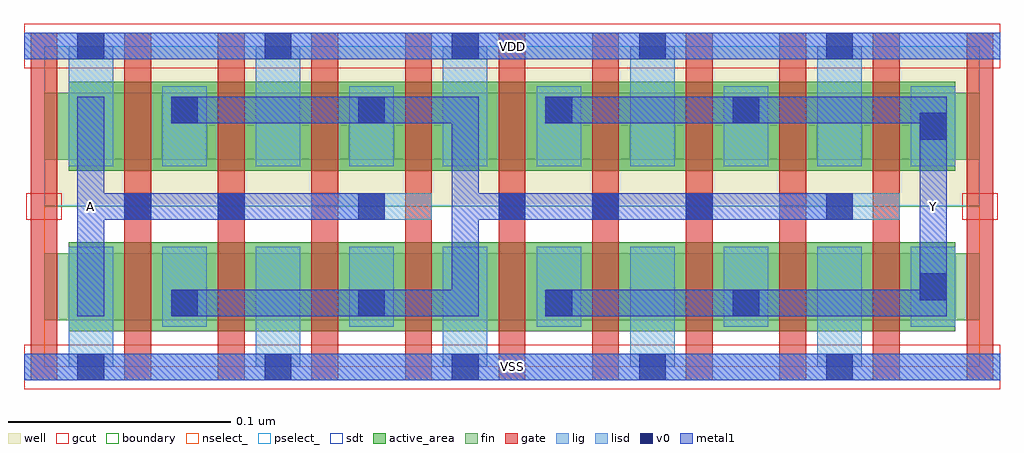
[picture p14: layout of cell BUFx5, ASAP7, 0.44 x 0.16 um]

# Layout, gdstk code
import gdstk
lib = gdstk.Library(unit=1e-6, precision=2.5e-10)
def R(c, l, rs):  # rectangles x0, y0, x1, y1
    for r in rs: c.add(gdstk.rectangle(r[:2], r[2:], *l))
def A(c, l, x, y, w, h, nx, ny, dx, dy):  # array of equal rectangles
    R(c, l, [(x+i*dx, y+j*dy, x+i*dx+w, y+j*dy+h) for i in range(nx) for j in range(ny)])
def P(c, l, *ps):  # polygons
    for p in ps: c.add(gdstk.Polygon(p, *l))
well = (1, 0)
fin = (2, 0)
gate = (7, 0)
gcut = (10, 0)
active_area = (11, 0)
nselect_ = (12, 0)
pselect_ = (13, 0)
lig = (16, 0)
lisd = (17, 0)
v0 = (18, 0)
metal1 = (19, 0)
sdt = (88, 0)
boundary = (100, 0)

bufx5 = lib.new_cell('BUFx5')
R(bufx5, well, [(0,0.072,0.42,0.144)])
R(bufx5, fin, [(0,0.021,0.42,0.051), (0,0.093,0.42,0.123)])
A(bufx5, gate, -0.006, -0.006, 0.012, 0.156, 11, 1, 0.042, 0)
R(bufx5, gcut, [(-0.009,-0.01,0.429,0.01), (-0.008,0.066,0.008,0.078), (0.412,0.066,0.428,0.078), (-0.009,0.134,0.429,0.154)])
R(bufx5, active_area, [(0.011,0.016,0.409,0.056), (0.011,0.088,0.409,0.128)])
R(bufx5, nselect_, [(0,0,0.42,0.072)])
R(bufx5, pselect_, [(0,0.072,0.42,0.144)])
A(bufx5, lig, 0.204, 0.066, 0.012, 0.012, 3, 1, 0.042, 0)
R(bufx5, lig, [(-0.009,-0.006,0.429,0.006), (0.036,0.066,0.048,0.078), (0.078,0.066,0.09,0.078), (0.12,0.066,0.174,0.078), (0.33,0.066,0.384,0.078), (-0.009,0.138,0.429,0.15)])
A(bufx5, lisd, 0.011, 0, 0.02, 0.054, 5, 2, 0.084, 0.09)
A(bufx5, lisd, 0.053, 0.018, 0.02, 0.036, 5, 2, 0.084, 0.072)
A(bufx5, v0, 0.015, -0.006, 0.012, 0.012, 5, 2, 0.084, 0.144)
A(bufx5, v0, 0.057, 0.0227, 0.012, 0.012, 4, 2, 0.084, 0.0865)
A(bufx5, v0, 0.078, 0.066, 0.012, 0.012, 3, 1, 0.063, 0)
R(bufx5, v0, [(0.393,0.03,0.405,0.042), (0.036,0.066,0.048,0.078), (0.246,0.066,0.258,0.078), (0.288,0.066,0.3,0.078), (0.351,0.066,0.363,0.078), (0.393,0.102,0.405,0.114)])
R(bufx5, metal1, [(-0.009,-0.006,0.429,0.006), (-0.009,0.138,0.429,0.15)])
P(bufx5, metal1, [(0.225,0.0348),(0.225,0.0227),(0.405,0.0227),(0.405,0.1212),(0.225,0.1212),(0.225,0.1092),(0.393,0.1092),(0.393,0.0348)],
  [(0.057,0.1092),(0.183,0.1092),(0.183,0.0348),(0.057,0.0348),(0.057,0.0227),(0.195,0.0227),(0.195,0.066),(0.363,0.066),(0.363,0.078),(0.195,0.078),(0.195,0.1212),(0.057,0.1212)],
  [(0.015,0.0227),(0.027,0.0227),(0.027,0.066),(0.153,0.066),(0.153,0.078),(0.027,0.078),(0.027,0.1212),(0.015,0.1212)])
A(bufx5, sdt, 0.011, 0.021, 0.02, 0.03, 10, 2, 0.042, 0.072)
R(bufx5, boundary, [(0,0,0.42,0.144)])
bufx5.add(gdstk.Label('Y', (0.399,0.072), layer=19, texttype=251))
bufx5.add(gdstk.Label('A', (0.021,0.072), layer=19, texttype=251))
bufx5.add(gdstk.Label('VSS', (0.21,0), layer=19, texttype=251))
bufx5.add(gdstk.Label('VDD', (0.21,0.144), layer=19, texttype=251))

lib.write_gds('BUFx5.gds')
